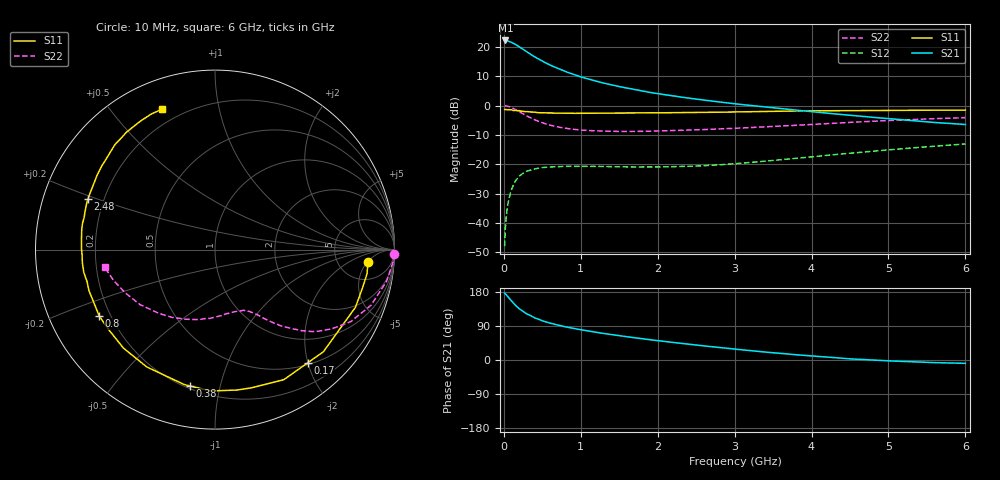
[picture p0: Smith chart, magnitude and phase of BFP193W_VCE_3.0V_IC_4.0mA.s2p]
! Infineon Technologies  Discrete & RF Semiconductors
! BFP193W
! VCE = 3.0 V,  IC =  4.0 mA
! Common Emitter S-Parameters:  Jan 2016
# GHz  S  MA  R  50
!  f  S11  S21  S12  S22
! GHz  MAG  ANG  MAG  ANG  MAG  ANG  MAG  ANG
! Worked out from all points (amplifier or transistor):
!   210 points, 10 MHz to 6 GHz, reference 50 ohm
!   highest |S21| = 22.2 dB at 20 MHz (marker M1)
!   |S21| within 3 dB of that: start of sweep to 248.5 MHz
!   unconditionally stable (mu >= 1): 1.768 GHz to 4.508 GHz
!   at 185 MHz: K = 0.29, MSG = 22.4 dB, |S12| = -24.6 dB
!   at 1.52 GHz: K = 0.89, MSG = 13.6 dB, |S12| = -20.9 dB
!   at 6 GHz: K = 0.91, MSG = 3.3 dB, |S12| = -13.1 dB
!   S11 on the Smith chart (normalised r, x): 10 MHz: 10, -5; 170 MHz: 0.53, -2.00; 380 MHz: 0.21, -0.81; 800 MHz: 0.16, -0.26; 2.48 GHz: 0.14, +0.19; 6 GHz: 0.13, +0.68
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0.01  0.8554 -4.5  12.83 176.6  0.004 88.5  0.9978 -1.3
0.02  0.8576 -9.1  12.86 174.8  0.0081 83.1  0.9927 -4.4
0.05  0.8504 -13.6  12.67 167.2  0.02 79.0  0.9722 -10.4
0.1  0.846 -22.3  11.96 155.3  0.0371 67.7  0.9231 -19.6
0.15  0.8299 -43.3  11.07 144.3  0.0516 58.2  0.8566 -27.9
0.17  0.8153 -50.7  10.62 140.9  0.0558 54.9  0.8271 -30.3
0.2  0.82 -62.1  10.03 135.3  0.0624 50.7  0.7858 -34.2
0.24  0.7964 -75.2  9.262 129.5  0.0686 45.6  0.7339 -38.3
0.3  0.788 -91.7  8.172 121.4  0.0762 39.6  0.661 -43.1
0.38  0.7722 -100.5  7.022 113.6  0.0817 33.6  0.5877 -47.4
0.4  0.7712 -102.8  6.759 111.3  0.0832 32.2  0.57 -48.7
0.52  0.7519 -122.7  5.533 102.3  0.088 26.6  0.4987 -52.8
0.6  0.7493 -132.9  4.888 97.3  0.0899 23.7  0.4627 -55.1
0.8  0.7437 -150.2  3.791 87.6  0.0918 19.9  0.4099 -59.1
1.02  0.7376 -162.6  3.028 79.2  0.0917 17.5  0.3805 -63.5
1.4  0.7409 -177.3  2.247 67.0  0.0909 17.0  0.3647 -71.1
2.02  0.7508 166.1  1.581 50.6  0.0899 21.9  0.3697 -84.7
2.48  0.7618 158.1  1.297 40.0  0.0926 27.9  0.3852 -95.5
3.1  0.7802 145.6  1.037 26.9  0.1042 35.5  0.4143 -110.3
4.1  0.8135 129.2  0.764 9.2  0.1374 41.5  0.4823 -134.7
5.1  0.8283 119.3  0.581 -3.1  0.1799 40.4  0.5617 -156.2
6  0.8363 110.6  0.475 -8.8  0.2213 36.6  0.6223 -170.9
